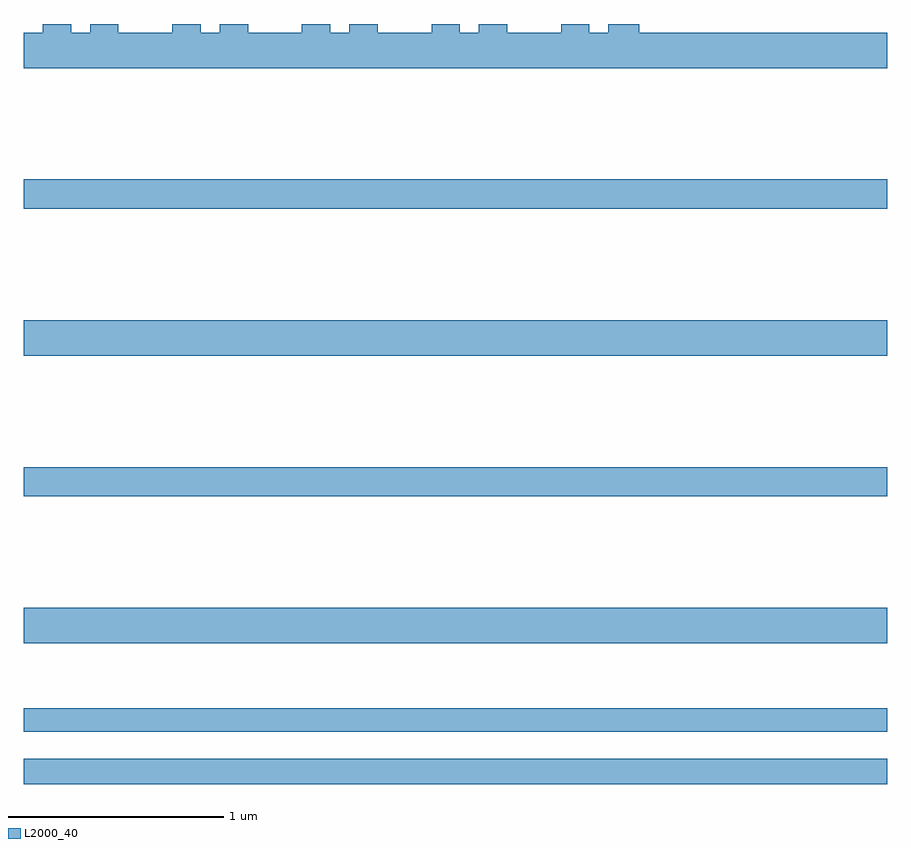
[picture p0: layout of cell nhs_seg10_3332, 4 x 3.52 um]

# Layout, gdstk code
import gdstk
lib = gdstk.Library(unit=1e-6, precision=1e-09)
def R(c, l, rs):  # rectangles x0, y0, x1, y1
    for r in rs: c.add(gdstk.rectangle(r[:2], r[2:], *l))
def P(c, l, *ps):  # polygons
    for p in ps: c.add(gdstk.Polygon(p, *l))
L2000_40 = (2000, 40)

nhs_seg10_3332 = lib.new_cell('nhs_seg10_3332')
R(nhs_seg10_3332, L2000_40, [(291,1316.98,295,1317.096), (291,1317.222,295,1317.331), (291,1317.632,295,1317.796), (291,1318.312,295,1318.448), (291,1318.964,295,1319.128), (291,1319.644,295,1319.78)])
P(nhs_seg10_3332, L2000_40, [(291.089,1320.5),(291.089,1320.46),(291,1320.46),(291,1320.296),(295,1320.296),(295,1320.46),(293.852,1320.46),(293.852,1320.5),(293.708,1320.5),(293.708,1320.46),(293.62,1320.46),(293.62,1320.5),(293.489,1320.5),(293.489,1320.46),(293.239,1320.46),(293.239,1320.5),(293.108,1320.5),(293.108,1320.46),(293.02,1320.46),(293.02,1320.5),(292.889,1320.5),(292.889,1320.46),(292.639,1320.46),(292.639,1320.5),(292.508,1320.5),(292.508,1320.46),(292.42,1320.46),(292.42,1320.5),(292.289,1320.5),(292.289,1320.46),(292.039,1320.46),(292.039,1320.5),(291.908,1320.5),(291.908,1320.46),(291.82,1320.46),(291.82,1320.5),(291.689,1320.5),(291.689,1320.46),(291.439,1320.46),(291.439,1320.5),(291.308,1320.5),(291.308,1320.46),(291.22,1320.46),(291.22,1320.5)])

lib.write_gds('nhs_seg10_3332.gds')
